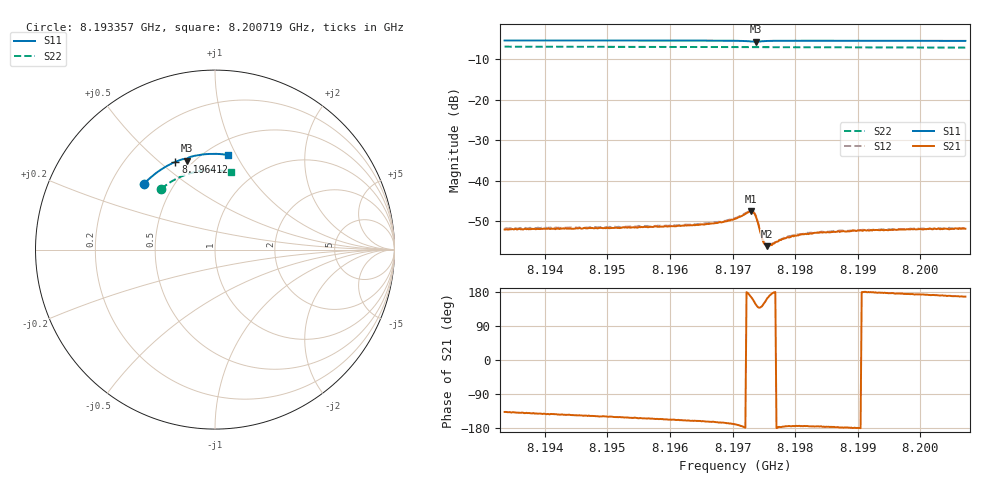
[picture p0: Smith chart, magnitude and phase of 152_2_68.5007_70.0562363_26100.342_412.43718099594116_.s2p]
#  HZ  S  RI  R  50.00
! Rohde & Schwarz Vector Network Analyzer
! Rohde-Schwarz,ZNB20-2Port,1311601062101988,3.16
! Created: UTC 3/20/2024, 5:10:34 PM
! freq[Hz]  re:S11  im:S11  re:S21  im:S21  re:S12  im:S12  re:S22  im:S22
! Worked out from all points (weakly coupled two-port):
!   401 points, 8.193357 GHz to 8.200719 GHz, reference 50 ohm
!   highest |S21| = -47.54 dB at 8.197296 GHz (marker M1); lowest = -56.1 dB at 8.197554 GHz (marker M2)
!   lowest |S11| = -5.7 dB at 8.197369 GHz (marker M3), VSWR 3.17, Z = 23.1 + j31.4 ohm
!   |S11| at or under -10 dB: nowhere
!   |S22| runs from -7.1 to -6.9 dB; largest |S21 - S12| = 0.00023
!   S11 on the Smith chart (normalised r, x): 8.193357 GHz: 0.34, +0.35; 8.196412 GHz: 0.41, +0.57; 8.200719 GHz: 0.63, +0.93
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8.1933574e9  -0.3962 0.3652  -0.00184 -0.00171  -0.00196 -0.00172  -0.2998 0.3387
8.1945904e9  -0.3319 0.4236  -0.00214 -0.00143  -0.00227 -0.00137  -0.2437 0.3788
8.1958235e9  -0.2586 0.4708  -0.00248 -0.0011  -0.00259 -0.00103  -0.182 0.4098
8.1964125e9  -0.2204 0.4892  -0.00269 -0.000946  -0.00279 -0.000826  -0.151 0.4212
8.1968358e9  -0.1913 0.5001  -0.00299 -0.000799  -0.00311 -0.000671  -0.128 0.4281
8.1970382e9  -0.176 0.5044  -0.00334 -0.00061  -0.00346 -0.00046  -0.1168 0.4309
8.1972406e9  -0.1581 0.5043  -0.00407 0.000208  -0.00411 0.000427  -0.1056 0.4333
8.1972959e9  -0.154 0.5009  -0.00408 0.000991  -0.00412 0.00116  -0.1027 0.4338
8.1973327e9  -0.1535 0.498  -0.00377 0.00158  -0.00377 0.00178  -0.1007 0.434
8.1973695e9  -0.155 0.4962  -0.00307 0.00201  -0.00309 0.00215  -0.0987 0.4344
8.1974063e9  -0.1574 0.4971  -0.00227 0.00196  -0.00227 0.00212  -0.0968 0.4348
8.1974799e9  -0.1575 0.5036  -0.00151 0.00109  -0.00152 0.00124  -0.093 0.4357
8.1975167e9  -0.1554 0.5065  -0.00147 0.000753  -0.00146 0.000856  -0.0909 0.4362
8.1975535e9  -0.1527 0.5088  -0.0015 0.000459  -0.0015 0.000513  -0.0887 0.4365
8.1975903e9  -0.1499 0.5109  -0.00157 0.000276  -0.00156 0.00034  -0.0868 0.4369
8.1977928e9  -0.1342 0.5173  -0.00192 -0.000128  -0.00193 -4.43e-05  -0.0753 0.4387
8.1979216e9  -0.1246 0.52  -0.00202 -0.000193  -0.00208 -0.000138  -0.068 0.4398
8.198124e9  -0.1099 0.5234  -0.00219 -0.000198  -0.00222 -0.000121  -0.0567 0.4411
8.1982713e9  -0.0994 0.5255  -0.00223 -0.000182  -0.00228 -0.00013  -0.0484 0.4417
8.198713e9  -0.0679 0.5301  -0.00234 -7.59e-05  -0.00244 6.56e-07  -0.0234 0.4429
8.1995044e9  -0.0117 0.5336  -0.00248 0.000166  -0.00251 0.000253  0.0215 0.4415
8.200719e9  0.074 0.5271  -0.00251 0.000566  -0.00252 0.000696  0.0898 0.4306
